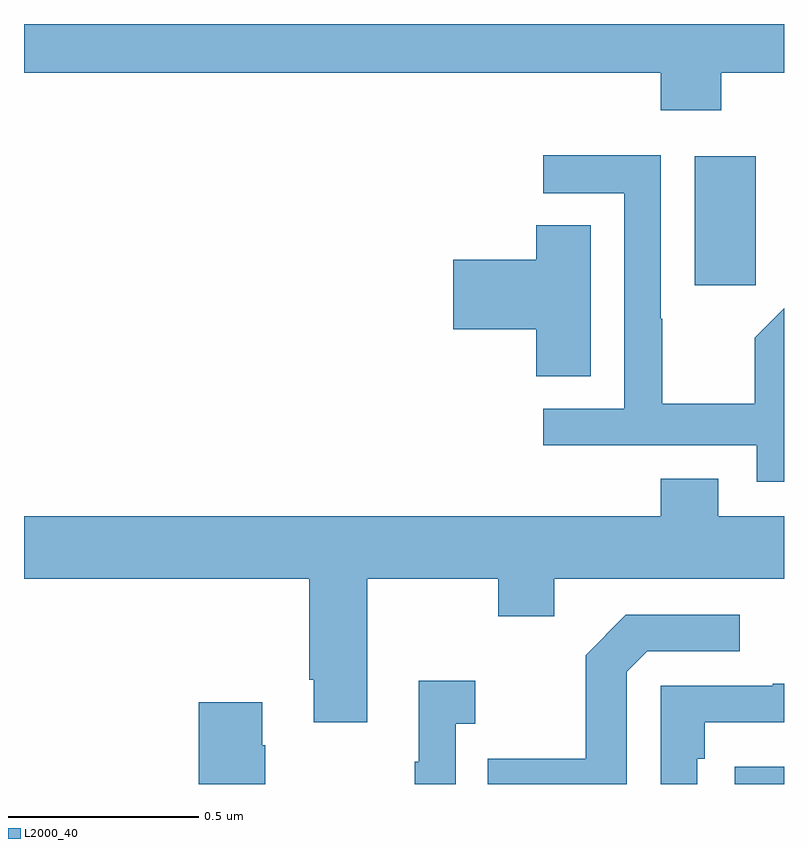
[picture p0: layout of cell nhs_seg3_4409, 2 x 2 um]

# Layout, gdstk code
import gdstk
lib = gdstk.Library(unit=1e-6, precision=1e-09)
def R(c, l, rs):  # rectangles x0, y0, x1, y1
    for r in rs: c.add(gdstk.rectangle(r[:2], r[2:], *l))
def P(c, l, *ps):  # polygons
    for p in ps: c.add(gdstk.Polygon(p, *l))
L2000_40 = (2000, 40)

nhs_seg3_4409 = lib.new_cell('nhs_seg3_4409')
R(nhs_seg3_4409, L2000_40, [(167.871,676.4,168,676.446), (167.765,677.712,167.926,678.052)])
P(nhs_seg3_4409, L2000_40, [(167.835,678.272),(168,678.272),(168,678.4),(166,678.4),(166,678.272),(167.675,678.272),(167.675,678.173),(167.835,678.173)],
  [(168,677.652),(167.923,677.575),(167.923,677.401),(167.679,677.401),(167.679,677.624),(167.676,677.624),(167.676,678.054),(167.367,678.054),(167.367,677.955),(167.58,677.955),(167.58,677.388),(167.367,677.388),(167.367,677.292),(167.928,677.292),(167.928,677.195),(168,677.195)],
  [(167.491,677.87),(167.348,677.87),(167.348,677.78),(167.13,677.78),(167.13,677.597),(167.348,677.597),(167.348,677.473),(167.491,677.473)],
  [(167.675,677.203),(167.675,677.104),(166,677.104),(166,676.94),(166.751,676.94),(166.751,676.675),(166.763,676.675),(166.763,676.563),(166.903,676.563),(166.903,676.94),(167.248,676.94),(167.248,676.841),(167.395,676.841),(167.395,676.94),(168,676.94),(168,677.104),(167.827,677.104),(167.827,677.203)],
  [(167.586,676.695),(167.64,676.749),(167.884,676.749),(167.884,676.845),(167.583,676.845),(167.478,676.739),(167.478,676.467),(167.221,676.467),(167.221,676.4),(167.586,676.4)],
  [(167.136,676.559),(167.188,676.559),(167.188,676.672),(167.039,676.672),(167.039,676.459),(167.028,676.459),(167.028,676.4),(167.136,676.4)],
  [(167.772,676.466),(167.792,676.466),(167.792,676.563),(168,676.563),(168,676.664),(167.971,676.664),(167.971,676.659),(167.676,676.659),(167.676,676.4),(167.772,676.4)],
  [(166.635,676.502),(166.627,676.502),(166.627,676.615),(166.46,676.615),(166.46,676.4),(166.635,676.4)])

lib.write_gds('nhs_seg3_4409.gds')
